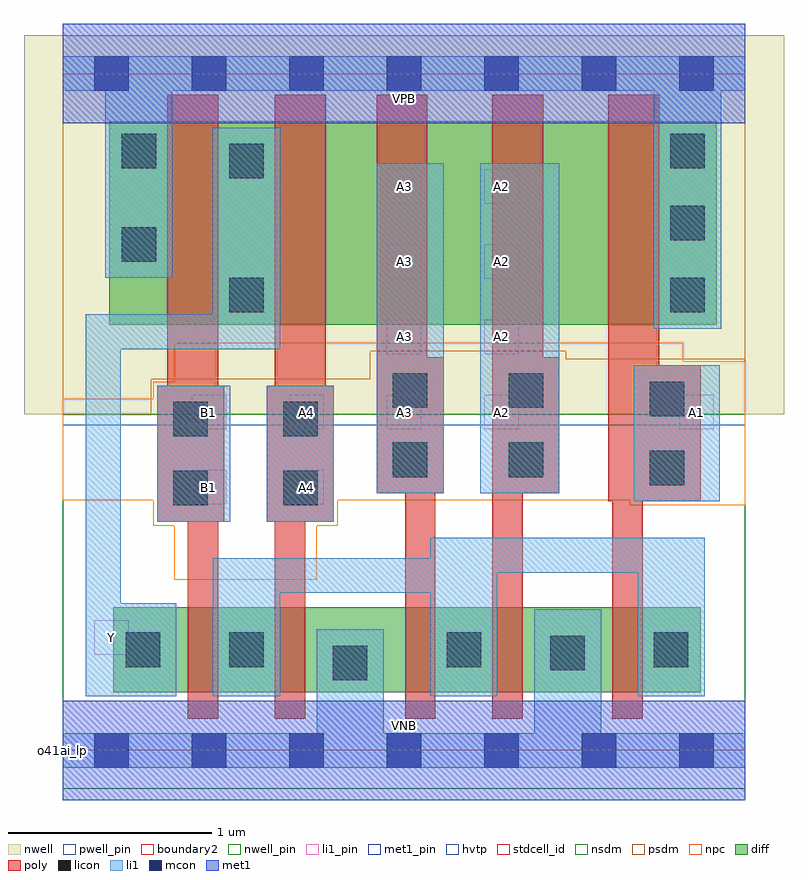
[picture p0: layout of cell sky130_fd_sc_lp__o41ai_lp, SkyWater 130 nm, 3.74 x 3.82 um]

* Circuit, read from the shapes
.subckt sky130_fd_sc_lp__o41ai_lp A1 A2 A3 A4 B1 VGND VNB VPB VPWR Y
XM1 n1 B1 Y VNB sky130_fd_pr__nfet_01v8 w=0.42 l=0.15
XM2 VGND A4 n1 VNB sky130_fd_pr__nfet_01v8 w=0.42 l=0.15
XM3 n1 A3 VGND VNB sky130_fd_pr__nfet_01v8 w=0.42 l=0.15
XM4 VGND A2 n1 VNB sky130_fd_pr__nfet_01v8 w=0.42 l=0.15
XM5 n1 A1 VGND VNB sky130_fd_pr__nfet_01v8 w=0.42 l=0.15
XM6 Y B1 VPWR VPB sky130_fd_pr__pfet_01v8_hvt w=1 l=0.25
XM7 n2 A4 Y VPB sky130_fd_pr__pfet_01v8_hvt w=1 l=0.25
XM8 n3 A3 n2 VPB sky130_fd_pr__pfet_01v8_hvt w=1 l=0.25
XM9 n4 A2 n3 VPB sky130_fd_pr__pfet_01v8_hvt w=1 l=0.25
XM10 VPWR A1 n4 VPB sky130_fd_pr__pfet_01v8_hvt w=1 l=0.25
.ends

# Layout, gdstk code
import gdstk
lib = gdstk.Library(unit=1e-6, precision=1e-09)
def R(c, l, rs):  # rectangles x0, y0, x1, y1
    for r in rs: c.add(gdstk.rectangle(r[:2], r[2:], *l))
def A(c, l, x, y, w, h, nx, ny, dx, dy):  # array of equal rectangles
    R(c, l, [(x+i*dx, y+j*dy, x+i*dx+w, y+j*dy+h) for i in range(nx) for j in range(ny)])
def P(c, l, *ps):  # polygons
    for p in ps: c.add(gdstk.Polygon(p, *l))
nwell_pin = (64, 16)
nwell = (64, 20)
diff = (65, 20)
poly = (66, 20)
licon = (66, 44)
li1_pin = (67, 16)
li1 = (67, 20)
mcon = (67, 44)
met1_pin = (68, 16)
met1 = (68, 20)
hvtp = (78, 44)
stdcell_id = (81, 4)
nsdm = (93, 44)
psdm = (94, 20)
npc = (95, 20)
pwell_pin = (122, 16)
boundary2 = (236, 0)

sky130_fd_sc_lp__o41ai_l = lib.new_cell('sky130_fd_sc_lp__o41ai_lp')
R(sky130_fd_sc_lp__o41ai_l, nwell_pin, [(0,3.085,3.36,3.33)])
R(sky130_fd_sc_lp__o41ai_l, nwell, [(-0.19,1.655,3.55,3.52)])
R(sky130_fd_sc_lp__o41ai_l, diff, [(0.25,0.285,3.14,0.705), (0.23,2.095,3.22,3.095)])
P(sky130_fd_sc_lp__o41ai_l, poly, [(0.795,1.795),(0.765,1.795),(0.765,3.225),(0.515,3.225),(0.515,1.795),(0.465,1.795),(0.465,1.125),(0.615,1.125),(0.615,0.155),(0.765,0.155),(0.765,1.125),(0.795,1.125)],
  [(1.335,1.795),(1.295,1.795),(1.295,3.225),(1.045,3.225),(1.045,1.795),(1.005,1.795),(1.005,1.125),(1.045,1.125),(1.045,0.155),(1.195,0.155),(1.195,1.125),(1.335,1.125)],
  [(1.875,1.935),(1.795,1.935),(1.795,3.225),(1.545,3.225),(1.545,1.265),(1.685,1.265),(1.685,0.155),(1.835,0.155),(1.835,1.265),(1.875,1.265)],
  [(2.445,1.935),(2.365,1.935),(2.365,3.225),(2.115,3.225),(2.115,0.155),(2.265,0.155),(2.265,1.265),(2.445,1.265)],
  [(3.14,1.895),(2.935,1.895),(2.935,3.225),(2.685,3.225),(2.685,1.225),(2.705,1.225),(2.705,0.155),(2.855,0.155),(2.855,1.225),(3.14,1.225)])
A(sky130_fd_sc_lp__o41ai_l, licon, 2.99, 2.155, 0.17, 0.17, 1, 3, 0, 0.355)
R(sky130_fd_sc_lp__o41ai_l, licon, [(1.33,0.345,1.5,0.515), (2.4,0.395,2.57,0.565), (0.31,0.41,0.48,0.58), (0.82,0.41,0.99,0.58), (1.89,0.41,2.06,0.58), (2.91,0.41,3.08,0.58), (0.545,1.205,0.715,1.375), (1.085,1.205,1.255,1.375), (2.89,1.305,3.06,1.475), (1.625,1.345,1.795,1.515), (2.195,1.345,2.365,1.515), (0.545,1.545,0.715,1.715), (1.085,1.545,1.255,1.715), (2.89,1.645,3.06,1.815), (1.625,1.685,1.795,1.855), (2.195,1.685,2.365,1.855), (0.82,2.155,0.99,2.325), (0.29,2.405,0.46,2.575), (0.82,2.815,0.99,2.985), (0.29,2.865,0.46,3.035)])
A(sky130_fd_sc_lp__o41ai_l, li1_pin, 0.635, 1.58, 0.17, 0.17, 4, 1, 0.48, 0)
A(sky130_fd_sc_lp__o41ai_l, li1_pin, 1.595, 1.95, 0.17, 0.17, 1, 3, 0, 0.37)
A(sky130_fd_sc_lp__o41ai_l, li1_pin, 2.075, 1.95, 0.17, 0.17, 1, 3, 0, 0.37)
R(sky130_fd_sc_lp__o41ai_l, li1_pin, [(0.155,0.47,0.325,0.64), (0.635,1.21,0.805,1.38), (1.115,1.21,1.285,1.38), (3.035,1.58,3.205,1.75)])
R(sky130_fd_sc_lp__o41ai_l, li1, [(0.465,1.125,0.825,1.795), (1.005,1.125,1.335,1.795), (2.81,1.225,3.235,1.895), (1.545,1.265,1.875,2.89), (2.055,1.265,2.445,2.89)])
P(sky130_fd_sc_lp__o41ai_l, li1, [(2.91,2.075),(2.91,3.245),(0.54,3.245),(0.54,2.325),(0.21,2.325),(0.21,3.245),(0,3.245),(0,3.415),(3.36,3.415),(3.36,3.245),(3.24,3.245),(3.24,2.075)],
  [(1.25,0.085),(1.25,0.595),(1.58,0.595),(1.58,0.085),(2.32,0.085),(2.32,0.695),(2.65,0.695),(2.65,0.085),(3.36,0.085),(3.36,-0.085),(0,-0.085),(0,0.085)],
  [(1.81,0.945),(1.81,1.045),(3.16,1.045),(3.16,0.265),(2.83,0.265),(2.83,0.875),(2.14,0.875),(2.14,0.265),(1.81,0.265),(1.81,0.775),(1.07,0.775),(1.07,0.265),(0.74,0.265),(0.74,0.945)],
  [(0.285,1.975),(0.285,0.725),(0.56,0.725),(0.56,0.265),(0.115,0.265),(0.115,2.145),(0.74,2.145),(0.74,3.065),(1.07,3.065),(1.07,1.975)])
A(sky130_fd_sc_lp__o41ai_l, mcon, 0.155, -0.085, 0.17, 0.17, 7, 2, 0.48, 3.33)
R(sky130_fd_sc_lp__o41ai_l, met1_pin, [(0,0,3.36,0.245), (0,3.085,3.36,3.33)])
R(sky130_fd_sc_lp__o41ai_l, met1, [(0,-0.245,3.36,0.245), (0,3.085,3.36,3.575)])
R(sky130_fd_sc_lp__o41ai_l, hvtp, [(0,1.6,3.36,3.33)])
R(sky130_fd_sc_lp__o41ai_l, stdcell_id, [(0,0,3.36,3.33)])
R(sky130_fd_sc_lp__o41ai_l, nsdm, [(0,-0.19,3.36,1.655)])
P(sky130_fd_sc_lp__o41ai_l, psdm, [(3.36,3.52),(0,3.52),(0,1.655),(0.435,1.655),(0.435,1.825),(1.515,1.825),(1.515,1.965),(2.475,1.965),(2.475,1.925),(3.36,1.925)])
P(sky130_fd_sc_lp__o41ai_l, npc, [(3.36,1.915),(3.055,1.915),(3.055,2.005),(0.55,2.005),(0.55,1.815),(0.445,1.815),(0.445,1.73),(0,1.73),(0,1.23),(0.445,1.23),(0.445,1.105),(0.55,1.105),(0.55,0.84),(1.25,0.84),(1.25,1.105),(1.355,1.105),(1.355,1.23),(2.79,1.23),(2.79,1.205),(3.36,1.205)])
R(sky130_fd_sc_lp__o41ai_l, pwell_pin, [(0,0,3.36,0.245)])
R(sky130_fd_sc_lp__o41ai_l, boundary2, [(0,0,3.36,3.33)])
sky130_fd_sc_lp__o41ai_l.add(gdstk.Label('VNB', (1.68,0.123), layer=64, texttype=59))
sky130_fd_sc_lp__o41ai_l.add(gdstk.Label('VPB', (1.68,3.208), layer=64, texttype=5))
sky130_fd_sc_lp__o41ai_l.add(gdstk.Label('o41ai_lp', (0,0), layer=83, texttype=44))
sky130_fd_sc_lp__o41ai_l.add(gdstk.Label('VPWR', (1.68,3.208), layer=68, texttype=5))
sky130_fd_sc_lp__o41ai_l.add(gdstk.Label('VGND', (1.68,0.123), layer=68, texttype=5))
sky130_fd_sc_lp__o41ai_l.add(gdstk.Label('B1', (0.72,1.295), layer=67, texttype=5))
sky130_fd_sc_lp__o41ai_l.add(gdstk.Label('B1', (0.72,1.665), layer=67, texttype=5))
sky130_fd_sc_lp__o41ai_l.add(gdstk.Label('A4', (1.2,1.295), layer=67, texttype=5))
sky130_fd_sc_lp__o41ai_l.add(gdstk.Label('A4', (1.2,1.665), layer=67, texttype=5))
sky130_fd_sc_lp__o41ai_l.add(gdstk.Label('A3', (1.68,1.665), layer=67, texttype=5))
sky130_fd_sc_lp__o41ai_l.add(gdstk.Label('A3', (1.68,2.035), layer=67, texttype=5))
sky130_fd_sc_lp__o41ai_l.add(gdstk.Label('A3', (1.68,2.405), layer=67, texttype=5))
sky130_fd_sc_lp__o41ai_l.add(gdstk.Label('A3', (1.68,2.775), layer=67, texttype=5))
sky130_fd_sc_lp__o41ai_l.add(gdstk.Label('A1', (3.12,1.665), layer=67, texttype=5))
sky130_fd_sc_lp__o41ai_l.add(gdstk.Label('A2', (2.16,1.665), layer=67, texttype=5))
sky130_fd_sc_lp__o41ai_l.add(gdstk.Label('A2', (2.16,2.035), layer=67, texttype=5))
sky130_fd_sc_lp__o41ai_l.add(gdstk.Label('A2', (2.16,2.405), layer=67, texttype=5))
sky130_fd_sc_lp__o41ai_l.add(gdstk.Label('A2', (2.16,2.775), layer=67, texttype=5))
sky130_fd_sc_lp__o41ai_l.add(gdstk.Label('Y', (0.24,0.555), layer=67, texttype=5))

lib.write_gds('sky130_fd_sc_lp__o41ai_lp.gds')
